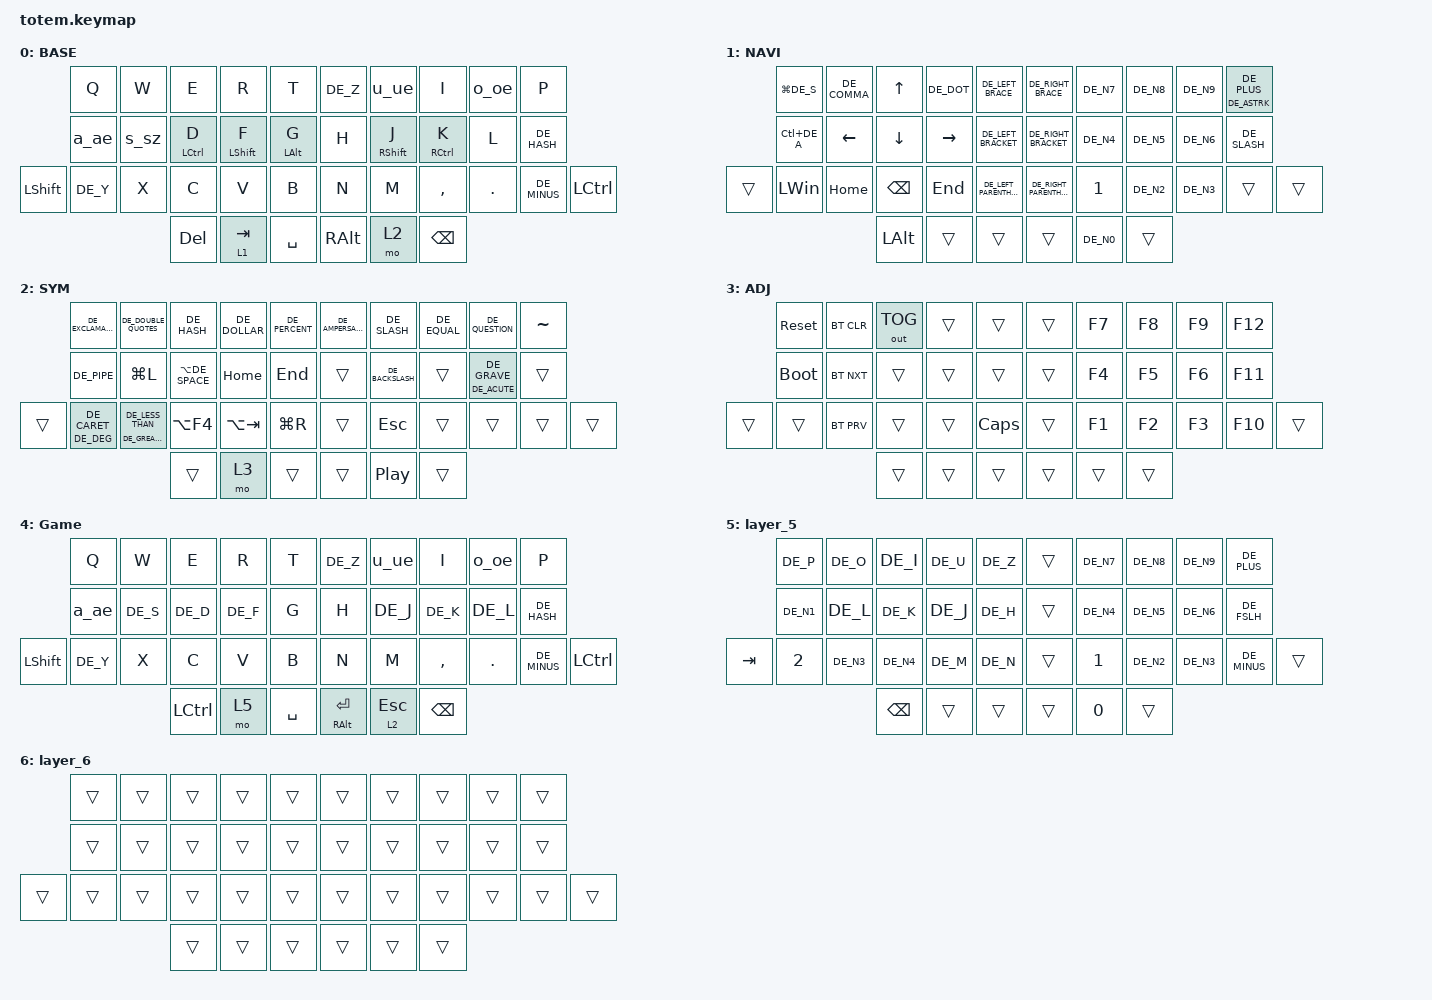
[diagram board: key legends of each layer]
//
//                                                        ▀▀▀▀▀     ▀▀▀▀▀          ▀▀█▀▀
//                                                        ▄▀▀▀▄  ▄  ▄▀▀▀▄  ▄  ▄▀▀▀▄  █  ▄▀▀▀▄
//                                                        █   █  █  █   █  █  █   █  █  █   █
//                                                         ▀▀▀   █   ▀▀▀   █   ▀▀▀   ▀   ▀▀▀
//                                                               █      ▄▄▄█▄▄▄    █   █  
//                                                               ▀      █  █  █     █▄█
//                                                             ▀▀▀▀▀    █  █  █      ▀
//                                                                      ▀  ▀  ▀
//
// ▄▄▄▄▄▄▄▄▄▄▄▄▄▄▄▄▄▄▄▄▄▄▄▄▄▄▄▄▄▄▄▄▄▄▄▄▄▄▄▄▄▄▄▄▄▄▄▄▄▄▄▄▄▄▄▄▄▄▄▄▄▄▄▄▄▄▄▄▄▄▄▄▄▄▄▄▄▄▄▄▄▄▄▄▄▄▄▄▄▄▄▄▄▄▄▄▄▄▄▄▄▄▄▄▄▄▄▄▄▄▄▄▄▄▄▄▄▄▄▄▄▄▄▄▄▄▄▄▄▄▄▄▄▄▄▄▄▄▄▄▄▄▄▄▄▄▄▄▄

#include <behaviors.dtsi>
#include <dt-bindings/zmk/bt.h>
#include <dt-bindings/zmk/keys.h>
#include <dt-bindings/zmk/outputs.h>
#include "keys_de.h"

#define BASE 0
#define NAV  1
#define SYM  2
#define ADJ  3
#define TVP1 4
#define TVP2 5

&mt {
    quick-tap-ms = <100>;
    global-quick-tap;
    flavor = "tap-preferred";
    tapping-term-ms = <170>;
};

/ {
    combos {
        compatible = "zmk,combos";

        combo_esc {
            timeout-ms = <50>;
            key-positions = <0 1>;
            bindings = <&kp ESC>;
        };

        enter {
            bindings = <&kp ENTER>;
            key-positions = <7 8>;
            layers = <0 2 4 5>;
        };

        home {
            bindings = <&to 0>;
            key-positions = <22 23 24>;
        };

        enter_left_variant {
            bindings = <&kp ENTER>;
            key-positions = <23 22>;
            layers = <0>;
        };

        gaming_layer {
            bindings = <&to 4>;
            key-positions = <24 23 33>;
        };

        enter_variant {
            bindings = <&none>;
            key-positions = <28 29>;
        };

        esc_right {
            bindings = <&none>;
            key-positions = <8 9>;
        };

        enter_left {
            bindings = <&kp ENTER>;
            key-positions = <2 1>;
            layers = <0>;
        };
    };

    macros {
        gif: gif {
            label = "giphy";
            compatible = "zmk,behavior-macro";
            #binding-cells = <0>;
            bindings =
                <&macro_press>,
                <&kp LSHFT>,
                <&macro_tap>,
                <&kp N2>,
                <&macro_release>,
                <&kp LSHFT>,
                <&macro_tap>,
                <&kp G &kp I &kp F>;
        };
    };

    behaviors {
        o_oe: o_oe {
            compatible = "zmk,behavior-mod-morph";
            label = "O_OE";
            bindings = <&kp O>, <&kp DE_O_UMLAUT>;

            #binding-cells = <0>;
            mods = <(MOD_RALT)>;
        };

        a_ae: a_ae {
            compatible = "zmk,behavior-mod-morph";
            label = "A_AE";
            bindings = <&kp A>, <&kp DE_A_UMLAUT>;

            #binding-cells = <0>;
            mods = <(MOD_RALT|MOD_LALT)>;
        };

        u_ue: u_ue {
            compatible = "zmk,behavior-mod-morph";
            label = "U_UE";
            bindings = <&kp U>, <&kp DE_U_UMLAUT>;

            #binding-cells = <0>;
            mods = <(MOD_RALT)>;
        };

        s_sz: s_sz {
            compatible = "zmk,behavior-mod-morph";
            label = "S_SZ";
            bindings = <&kp DE_S>, <&kp DE_SZ>;

            #binding-cells = <0>;
            mods = <(MOD_RALT)>;
        };
    };

    keymap {
        compatible = "zmk,keymap";

        // ▄▄▄▄▄▄▄▄▄▄▄▄▄▄▄▄▄▄▄▄▄▄▄▄▄▄▄▄▄▄▄▄▄▄▄▄▄▄▄▄▄▄▄▄▄▄▄▄▄▄▄▄▄▄▄▄▄▄▄▄▄▄▄▄▄▄▄▄▄▄▄▄▄▄▄▄▄▄▄▄▄▄▄▄▄▄▄▄▄▄▄▄▄▄▄▄▄▄▄▄▄▄▄▄▄▄▄▄▄▄▄▄▄▄▄▄▄▄▄▄▄▄▄▄▄▄▄▄▄▄▄▄▄▄▄▄▄▄▄▄▄▄▄▄▄▄▄▄▄

        base_layer {
            // ┏━━━━━━━━━━━━━━━━━━━━━━━━━━━━━━━━━━━━━━━┓

            label = "BASE";

            // ┗━━━━━━━━━━━━━━━━━━━━━━━━━━━━━━━━━━━━━━━┛
            //             ┏━━━━━━━━━━━┳━━━━━━━━━━━┳━━━━━━━━━━━┳━━━━━━━━━━━┳━━━━━━━━━━━┓   ┏━━━━━━━━━━━┳━━━━━━━━━━━┳━━━━━━━━━━━┳━━━━━━━━━━━┳━━━━━━━━━━━┓
            //             ┃     Q     ┃     W     ┃     F     ┃     P     ┃     G     ┃   ┃     J     ┃     L     ┃     U     ┃     Y     ┃     ;     ┃
            //             ┣━━━━━━━━━━━╋━━━━━━━━━━━╋━━━━━━━━━━━╋━━━━━━━━━━━╋━━━━━━━━━━━┫   ┣━━━━━━━━━━━╋━━━━━━━━━━━╋━━━━━━━━━━━╋━━━━━━━━━━━╋━━━━━━━━━━━┫
            //             ┃     A     ┃     R     ┃     S     ┃     T     ┃     D     ┃   ┃     H     ┃     N     ┃     E     ┃     I     ┃     O     ┃
            // ┏━━━━━━━━━━━╋━━━━━━━━━━━╋━━━━━━━━━━━╋━━━━━━━━━━━╋━━━━━━━━━━━╋━━━━━━━━━━━┫   ┣━━━━━━━━━━━╋━━━━━━━━━━━╋━━━━━━━━━━━╋━━━━━━━━━━━╋━━━━━━━━━━━╋━━━━━━━━━━━┓
            // ┃     Q     ┃     Z     ┃     X     ┃     C     ┃     V     ┃     B     ┃   ┃     K     ┃     M     ┃     ,     ┃     .     ┃     /     ┃     \     ┃
            // ┗━━━━━━━━━━━┻━━━━━━━━━━━┻━━━━━━━━━━━╋━━━━━━━━━━━╋━━━━━━━━━━━╋━━━━━━━━━━━┫   ┣━━━━━━━━━━━╋━━━━━━━━━━━╋━━━━━━━━━━━╋━━━━━━━━━━━┻━━━━━━━━━━━┻━━━━━━━━━━━┛
            //                                     ┃    DEL    ┃    TAB    ┃    SPC    ┃   ┃   ENTER   ┃           ┃   BSPC    ┃
            //                                     ┗━━━━━━━━━━━┻━━━━━━━━━━━┻━━━━━━━━━━━┛   ┗━━━━━━━━━━━┻━━━━━━━━━━━┻━━━━━━━━━━━┛

            bindings = <
                &kp Q     &kp W  &kp E        &kp R             &kp T             &kp DE_Z       &u_ue        &kp I        &o_oe    &kp P
                &a_ae     &s_sz  &mt LCTRL D  &mt LEFT_SHIFT F  &mt LEFT_ALT G    &kp H          &mt RSHFT J  &mt RCTRL K  &kp L    &kp DE_HASH
&kp LEFT_SHIFT  &kp DE_Y  &kp X  &kp C        &kp V             &kp B             &kp N          &kp M        &kp COMMA    &kp DOT  &kp DE_MINUS  &kp LCTRL
                                 &kp DEL      &lt 1 TAB         &kp SPACE         &kp RIGHT_ALT  &mo 2        &kp BSPC
            >;
        };

        // ▄▄▄▄▄▄▄▄▄▄▄▄▄▄▄▄▄▄▄▄▄▄▄▄▄▄▄▄▄▄▄▄▄▄▄▄▄▄▄▄▄▄▄▄▄▄▄▄▄▄▄▄▄▄▄▄▄▄▄▄▄▄▄▄▄▄▄▄▄▄▄▄▄▄▄▄▄▄▄▄▄▄▄▄▄▄▄▄▄▄▄▄▄▄▄▄▄▄▄▄▄▄▄▄▄▄▄▄▄▄▄▄▄▄▄▄▄▄▄▄▄▄▄▄▄▄▄▄▄▄▄▄▄▄▄▄▄▄▄▄▄▄▄▄▄▄▄▄▄

        nav_layer {
            // ┏━━━━━━━━━━━━━━━━━━━━━━━━━━━━━━━━━━━━━━━┓

            label = "NAVI";

            // ┗━━━━━━━━━━━━━━━━━━━━━━━━━━━━━━━━━━━━━━━┛
            //             ┏━━━━━━━━━━━┳━━━━━━━━━━━┳━━━━━━━━━━━┳━━━━━━━━━━━┳━━━━━━━━━━━┓   ┏━━━━━━━━━━━┳━━━━━━━━━━━┳━━━━━━━━━━━┳━━━━━━━━━━━┳━━━━━━━━━━━┓
            //             ┃           ┃           ┃     UP    ┃           ┃     {     ┃   ┃     }     ┃     7     ┃     8     ┃     9     ┃     +     ┃
            //             ┣━━━━━━━━━━━╋━━━━━━━━━━━╋━━━━━━━━━━━╋━━━━━━━━━━━╋━━━━━━━━━━━┫   ┣━━━━━━━━━━━╋━━━━━━━━━━━╋━━━━━━━━━━━╋━━━━━━━━━━━╋━━━━━━━━━━━┫
            //             ┃   SHIFT   ┃   LEFT    ┃    DOWN   ┃   RIGHT   ┃     [     ┃   ┃     ]     ┃     4     ┃     5     ┃     6     ┃     -     ┃
            // ┏━━━━━━━━━━━╋━━━━━━━━━━━╋━━━━━━━━━━━╋━━━━━━━━━━━╋━━━━━━━━━━━╋━━━━━━━━━━━┫   ┣━━━━━━━━━━━╋━━━━━━━━━━━╋━━━━━━━━━━━╋━━━━━━━━━━━╋━━━━━━━━━━━╋━━━━━━━━━━━┓
            // ┃           ┃           ┃   P UP    ┃  C LOCK   ┃  P DOWN   ┃     (     ┃   ┃     )     ┃     1     ┃     2     ┃     3     ┃     *     ┃           ┃
            // ┗━━━━━━━━━━━┻━━━━━━━━━━━┻━━━━━━━━━━━╋━━━━━━━━━━━╋━━━━━━━━━━━╋━━━━━━━━━━━┫   ┣━━━━━━━━━━━╋━━━━━━━━━━━╋━━━━━━━━━━━╋━━━━━━━━━━━┻━━━━━━━━━━━┻━━━━━━━━━━━┛
            //                                     ┃           ┃    TAB    ┃    SPC    ┃   ┃    DEL    ┃     0     ┃           ┃
            //                                     ┗━━━━━━━━━━━┻━━━━━━━━━━━┻━━━━━━━━━━━┛   ┗━━━━━━━━━━━┻━━━━━━━━━━━┻━━━━━━━━━━━┛

            bindings = <
        &kp LG(DE_S)  &kp DE_COMMA  &kp UP         &kp DE_DOT  &kp DE_LEFT_BRACE          &kp DE_RIGHT_BRACE        &kp DE_N7  &kp DE_N8  &kp DE_N9  &mt DE_ASTRK DE_PLUS
        &kp LC(DE_A)  &kp LEFT      &kp DOWN       &kp RIGHT   &kp DE_LEFT_BRACKET        &kp DE_RIGHT_BRACKET      &kp DE_N4  &kp DE_N5  &kp DE_N6  &kp DE_SLASH
&trans  &kp LEFT_WIN  &kp HOME      &kp BACKSPACE  &kp END     &kp DE_LEFT_PARENTHESIS    &kp DE_RIGHT_PARENTHESIS  &kp N1     &kp DE_N2  &kp DE_N3  &trans                &trans
                                    &kp LEFT_ALT   &trans      &trans                     &trans                    &kp DE_N0  &trans
            >;
        };

        // ▄▄▄▄▄▄▄▄▄▄▄▄▄▄▄▄▄▄▄▄▄▄▄▄▄▄▄▄▄▄▄▄▄▄▄▄▄▄▄▄▄▄▄▄▄▄▄▄▄▄▄▄▄▄▄▄▄▄▄▄▄▄▄▄▄▄▄▄▄▄▄▄▄▄▄▄▄▄▄▄▄▄▄▄▄▄▄▄▄▄▄▄▄▄▄▄▄▄▄▄▄▄▄▄▄▄▄▄▄▄▄▄▄▄▄▄▄▄▄▄▄▄▄▄▄▄▄▄▄▄▄▄▄▄▄▄▄▄▄▄▄▄▄▄▄▄▄▄▄

        sim_layer {
            // ┏━━━━━━━━━━━━━━━━━━━━━━━━━━━━━━━━━━━━━━━┓

            label = "SYM";

            // ┗━━━━━━━━━━━━━━━━━━━━━━━━━━━━━━━━━━━━━━━┛
            //             ┏━━━━━━━━━━━┳━━━━━━━━━━━┳━━━━━━━━━━━┳━━━━━━━━━━━┳━━━━━━━━━━━┓   ┏━━━━━━━━━━━┳━━━━━━━━━━━┳━━━━━━━━━━━┳━━━━━━━━━━━┳━━━━━━━━━━━┓
            //             ┃     !     ┃     @     ┃     #     ┃     $     ┃     %     ┃   ┃     ˆ     ┃     &     ┃     Ü     ┃     '     ┃     "     ┃
            //             ┣━━━━━━━━━━━╋━━━━━━━━━━━╋━━━━━━━━━━━╋━━━━━━━━━━━╋━━━━━━━━━━━┫   ┣━━━━━━━━━━━╋━━━━━━━━━━━╋━━━━━━━━━━━╋━━━━━━━━━━━╋━━━━━━━━━━━┫
            //             ┃     Ä     ┃           ┃    SZ     ┃           ┃           ┃   ┃   MUTE    ┃   YEN     ┃   EURO    ┃  POUND    ┃     Ö     ┃
            // ┏━━━━━━━━━━━╋━━━━━━━━━━━╋━━━━━━━━━━━╋━━━━━━━━━━━╋━━━━━━━━━━━╋━━━━━━━━━━━┫   ┣━━━━━━━━━━━╋━━━━━━━━━━━╋━━━━━━━━━━━╋━━━━━━━━━━━╋━━━━━━━━━━━╋━━━━━━━━━━━┓
            // ┃           ┃  EMAIL1   ┃  EMAIL2   ┃           ┃           ┃           ┃   ┃   VOL-    ┃   VOL+    ┃   LAST    ┃   NEXT    ┃     \     ┃           ┃
            // ┗━━━━━━━━━━━┻━━━━━━━━━━━┻━━━━━━━━━━━╋━━━━━━━━━━━╋━━━━━━━━━━━╋━━━━━━━━━━━┫   ┣━━━━━━━━━━━╋━━━━━━━━━━━╋━━━━━━━━━━━╋━━━━━━━━━━━┻━━━━━━━━━━━┻━━━━━━━━━━━┛
            //                                     ┃           ┃    GIF    ┃    ADJ    ┃   ┃           ┃           ┃           ┃
            //                                     ┗━━━━━━━━━━━┻━━━━━━━━━━━┻━━━━━━━━━━━┛   ┗━━━━━━━━━━━┻━━━━━━━━━━━┻━━━━━━━━━━━┛

            bindings = <
        &kp DE_EXCLAMATION   &kp DE_DOUBLE_QUOTES              &kp DE_HASH       &kp DE_DOLLAR  &kp DE_PERCENT    &kp DE_AMPERSAND  &kp DE_SLASH      &kp DE_EQUAL  &kp DE_QUESTION        &kp TILDE
        &kp DE_PIPE          &kp LG(L)                         &kp LA(DE_SPACE)  &kp HOME       &kp END           &trans            &kp DE_BACKSLASH  &trans        &mt DE_ACUTE DE_GRAVE  &trans
&trans  &mt DE_DEG DE_CARET  &mt DE_GREATER_THAN DE_LESS_THAN  &kp LA(F4)        &kp LA(TAB)    &kp LG(R)         &trans            &kp ESCAPE        &trans        &trans                 &trans     &trans
                                                               &trans            &mo 3          &trans            &trans            &kp C_PP          &trans
            >;
        };

        // ▄▄▄▄▄▄▄▄▄▄▄▄▄▄▄▄▄▄▄▄▄▄▄▄▄▄▄▄▄▄▄▄▄▄▄▄▄▄▄▄▄▄▄▄▄▄▄▄▄▄▄▄▄▄▄▄▄▄▄▄▄▄▄▄▄▄▄▄▄▄▄▄▄▄▄▄▄▄▄▄▄▄▄▄▄▄▄▄▄▄▄▄▄▄▄▄▄▄▄▄▄▄▄▄▄▄▄▄▄▄▄▄▄▄▄▄▄▄▄▄▄▄▄▄▄▄▄▄▄▄▄▄▄▄▄▄▄▄▄▄▄▄▄▄▄▄▄▄▄

        adjust_layer {
            // ┏━━━━━━━━━━━━━━━━━━━━━━━━━━━━━━━━━━━━━━━┓

            label = "ADJ";

            // ┗━━━━━━━━━━━━━━━━━━━━━━━━━━━━━━━━━━━━━━━┛
            //             ┏━━━━━━━━━━━┳━━━━━━━━━━━┳━━━━━━━━━━━┳━━━━━━━━━━━┳━━━━━━━━━━━┓   ┏━━━━━━━━━━━┳━━━━━━━━━━━┳━━━━━━━━━━━┳━━━━━━━━━━━┳━━━━━━━━━━━┓
            //             ┃   RESET   ┃ BT CLEAR  ┃  OUT TOG  ┃           ┃           ┃   ┃           ┃    F7     ┃    F8     ┃    F9     ┃    F12    ┃
            //             ┣━━━━━━━━━━━╋━━━━━━━━━━━╋━━━━━━━━━━━╋━━━━━━━━━━━╋━━━━━━━━━━━┫   ┣━━━━━━━━━━━╋━━━━━━━━━━━╋━━━━━━━━━━━╋━━━━━━━━━━━╋━━━━━━━━━━━┫
            //             ┃ BOOTLOAD  ┃ BT NEXT   ┃           ┃           ┃           ┃   ┃           ┃    F4     ┃    F5     ┃    F6     ┃    F11    ┃
            // ┏━━━━━━━━━━━╋━━━━━━━━━━━╋━━━━━━━━━━━╋━━━━━━━━━━━╋━━━━━━━━━━━╋━━━━━━━━━━━┫   ┣━━━━━━━━━━━╋━━━━━━━━━━━╋━━━━━━━━━━━╋━━━━━━━━━━━╋━━━━━━━━━━━╋━━━━━━━━━━━┓
            // ┃           ┃           ┃ BT PREV   ┃           ┃           ┃           ┃   ┃           ┃    F1     ┃    F2     ┃    F3     ┃    F10    ┃           ┃
            // ┗━━━━━━━━━━━┻━━━━━━━━━━━┻━━━━━━━━━━━╋━━━━━━━━━━━╋━━━━━━━━━━━╋━━━━━━━━━━━┫   ┣━━━━━━━━━━━╋━━━━━━━━━━━╋━━━━━━━━━━━╋━━━━━━━━━━━┻━━━━━━━━━━━┻━━━━━━━━━━━┛
            //                                     ┃           ┃           ┃           ┃   ┃           ┃           ┃           ┃
            //                                     ┗━━━━━━━━━━━┻━━━━━━━━━━━┻━━━━━━━━━━━┛   ┗━━━━━━━━━━━┻━━━━━━━━━━━┻━━━━━━━━━━━┛

            bindings = <
        &sys_reset   &bt BT_CLR  &out OUT_TOG  &trans  &trans          &trans  &kp F7  &kp F8  &kp F9  &kp F12
        &bootloader  &bt BT_NXT  &trans        &trans  &trans          &trans  &kp F4  &kp F5  &kp F6  &kp F11
&trans  &trans       &bt BT_PRV  &trans        &trans  &kp CAPSLOCK    &trans  &kp F1  &kp F2  &kp F3  &kp F10  &trans
                                 &trans        &trans  &trans          &trans  &trans  &trans
            >;
        };

        // ▄▄▄▄▄▄▄▄▄▄▄▄▄▄▄▄▄▄▄▄▄▄▄▄▄▄▄▄▄▄▄▄▄▄▄▄▄▄▄▄▄▄▄▄▄▄▄▄▄▄▄▄▄▄▄▄▄▄▄▄▄▄▄▄▄▄▄▄▄▄▄▄▄▄▄▄▄▄▄▄▄▄▄▄▄▄▄▄▄▄▄▄▄▄▄▄▄▄▄▄▄▄▄▄▄▄▄▄▄▄▄▄▄▄▄▄▄▄▄▄▄▄▄▄▄▄▄▄▄▄▄▄▄▄▄▄▄▄▄▄▄▄▄▄▄▄▄▄▄
        // ▄▄▄▄▄▄▄▄▄▄▄▄▄▄▄▄▄▄▄▄▄▄▄▄▄▄▄▄▄▄▄▄▄▄▄▄▄▄▄▄▄▄▄▄▄▄▄▄▄▄▄▄▄▄▄▄▄▄▄▄▄▄▄▄▄▄▄▄▄▄▄▄▄▄▄▄▄▄▄▄▄▄▄▄▄▄▄▄▄▄▄▄▄▄▄▄▄▄▄▄▄▄▄▄▄▄▄▄▄▄▄▄▄▄▄▄▄▄▄▄▄▄▄▄▄▄▄▄▄▄▄▄▄▄▄▄▄▄▄▄▄▄▄▄▄▄▄▄▄

        layer_8 {
            label = "Game";
            bindings = <
                &kp Q     &kp W     &kp E      &kp R     &kp T        &kp DE_Z             &u_ue      &kp I      &o_oe     &kp P
                &a_ae     &kp DE_S  &kp DE_D   &kp DE_F  &kp G        &kp H                &kp DE_J   &kp DE_K   &kp DE_L  &kp DE_HASH
&kp LEFT_SHIFT  &kp DE_Y  &kp X     &kp C      &kp V     &kp B        &kp N                &kp M      &kp COMMA  &kp DOT   &kp DE_MINUS  &kp LCTRL
                                    &kp LCTRL  &mo 5     &kp SPACE    &mt RIGHT_ALT ENTER  &lt 2 ESC  &kp BSPC
            >;
        };

        layer_5 {
            bindings = <
         &kp DE_P   &kp DE_O   &kp DE_I       &kp DE_U  &kp DE_Z    &trans  &kp DE_N7  &kp DE_N8  &kp DE_N9  &kp DE_PLUS
         &kp DE_N1  &kp DE_L   &kp DE_K       &kp DE_J  &kp DE_H    &trans  &kp DE_N4  &kp DE_N5  &kp DE_N6  &kp DE_FSLH
&kp TAB  &kp N2     &kp DE_N3  &kp DE_N4      &kp DE_M  &kp DE_N    &trans  &kp N1     &kp DE_N2  &kp DE_N3  &kp DE_MINUS  &trans
                               &kp BACKSPACE  &trans    &trans      &trans  &kp N0     &trans
            >;
        };

        layer_6 {
            bindings = <
        &trans  &trans  &trans  &trans  &trans    &trans  &trans  &trans  &trans  &trans
        &trans  &trans  &trans  &trans  &trans    &trans  &trans  &trans  &trans  &trans
&trans  &trans  &trans  &trans  &trans  &trans    &trans  &trans  &trans  &trans  &trans  &trans
                        &trans  &trans  &trans    &trans  &trans  &trans
            >;
        };
    };
};
